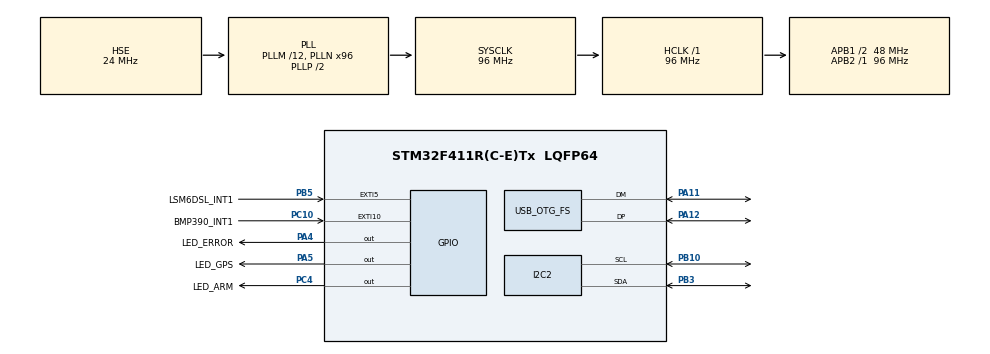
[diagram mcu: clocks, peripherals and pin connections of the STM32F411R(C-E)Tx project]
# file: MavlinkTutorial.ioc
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I2C2.I2C_Mode=I2C_Fast
Mcu.Family=STM32F4
Mcu.Name=STM32F411R(C-E)Tx
Mcu.Package=LQFP64
NVIC.EXTI15_10_IRQn=true\:12\:0\:true\:false\:true\:true\:true\:true
NVIC.EXTI9_5_IRQn=true\:12\:0\:true\:false\:true\:true\:true\:true
NVIC.OTG_FS_IRQn=true\:0\:0\:false\:false\:true\:false\:true\:true
NVIC.PriorityGroup=NVIC_PRIORITYGROUP_4
PA11.Mode=Device_Only
PA11.Signal=USB_OTG_FS_DM
PA12.Mode=Device_Only
PA12.Signal=USB_OTG_FS_DP
PA13.Mode=Serial_Wire
PA13.Signal=SYS_JTMS-SWDIO
PA14.Mode=Serial_Wire
PA14.Signal=SYS_JTCK-SWCLK
PA4.GPIO_Label=LED_ERROR
PA4.Signal=GPIO_Output
PA5.GPIO_Label=LED_GPS
PA5.Signal=GPIO_Output
PB10.Mode=I2C
PB10.Signal=I2C2_SCL
PB3.Mode=I2C
PB3.Signal=I2C2_SDA
PB5.GPIO_Label=LSM6DSL_INT1
PB5.Signal=GPXTI5
PC10.GPIO_Label=BMP390_INT1
PC10.Signal=GPXTI10
PC4.GPIO_Label=LED_ARM
PC4.Signal=GPIO_Output
PH0\ -\ OSC_IN.Mode=HSE-External-Oscillator
PH0\ -\ OSC_IN.Signal=RCC_OSC_IN
PH1\ -\ OSC_OUT.Mode=HSE-External-Oscillator
PH1\ -\ OSC_OUT.Signal=RCC_OSC_OUT
ProjectManager.HeapSize=0x200
ProjectManager.StackSize=0x400
ProjectManager.TargetToolchain=CMake
RCC.48MHZClocksFreq_Value=48000000
RCC.AHBFreq_Value=96000000
RCC.APB1CLKDivider=RCC_HCLK_DIV2
RCC.APB1Freq_Value=48000000
RCC.APB1TimFreq_Value=96000000
RCC.APB2Freq_Value=96000000
RCC.APB2TimFreq_Value=96000000
RCC.CortexFreq_Value=96000000
RCC.HCLKFreq_Value=96000000
RCC.HSE_VALUE=24000000
RCC.HSI_VALUE=16000000
RCC.LSE_VALUE=32768
RCC.PLLM=12
RCC.PLLN=96
RCC.SYSCLKFreq_VALUE=96000000
RCC.SYSCLKSource=RCC_SYSCLKSOURCE_PLLCLK
RCC.VCOOutputFreq_Value=192000000
USB_DEVICE.APP_RX_DATA_SIZE=576
USB_DEVICE.APP_TX_DATA_SIZE=576
USB_DEVICE.CLASS_NAME_FS=CDC
USB_DEVICE.VirtualMode=Cdc
USB_DEVICE.VirtualModeFS=Cdc_FS
USB_OTG_FS.VirtualMode=Device_Only
VP_USB_DEVICE_VS_USB_DEVICE_CDC_FS.Mode=CDC_FS
board=custom

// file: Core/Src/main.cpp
/* USER CODE BEGIN Header */
/**
 ******************************************************************************
 * @file           : main.c
 * @brief          : Main program body
 ******************************************************************************
 * @attention
 *
 * Copyright (c) 2026 STMicroelectronics.
 * All rights reserved.
 *
 * This software is licensed under terms that can be found in the LICENSE file
 * in the root directory of this software component.
 * If no LICENSE file comes with this software, it is provided AS-IS.
 *
 ******************************************************************************
 */
/* USER CODE END Header */
#include "main.h"
#include "gpio.h"
#include "i2c.h"
#include "usb_device.h"

/* USER CODE BEGIN Includes */
#include "usbd_cdc_if.h"
#include <stdbool.h>
#include <stdint.h>
#include <stdio.h>
#include <string.h>
#define MAVLINK_NO_SIGN_PACKET
#include "common/mavlink.h"
#include "lsm6dsl.hpp"
#define BMP390_RET_TYPE HAL_StatusTypeDef
#define BMP390_RET_TYPE_SUCCESS HAL_OK
#define BMP390_RET_TYPE_FAILURE HAL_ERROR
#define BMP390_RET_TYPE_BUSY HAL_BUSY
#include "AltitudeEKF.hpp"
#include "ExtendedKalmanFilter.hpp"
#include "bmp390.hpp"
/* USER CODE END Includes */

/* USER CODE BEGIN PV */
extern uint8_t UserRxBufferFS[APP_TX_DATA_SIZE];
extern volatile bool USBD_CDC_Transmit_Complete, USBD_CDC_Receive_Complete;
extern volatile uint32_t USB_CDC_Rx_Buf_Index, USB_CDC_Rx_Received_Len;
volatile bool ImuInterrupt = false, BaroInterrupt = false;

uint8_t MavlinkTxBuf[APP_TX_DATA_SIZE];
uint16_t MavlinkTxLen, MavlinkRxLen;
bool MavlinkResponseToSend = false, SendOtherMavlinkMessages = false;

uint32_t currentMillis, prevHeartBeatTime, prevAttitudeQuaternionTime, prevSysStatusTime, prevAltitudeTime;
const uint32_t HEARTBEAT_MSG_INTERVAL = 1000, ATTITUDE_QUATERNION_MSG_INTERVAL = 40, ALTITUDE_MSG_INTERVAL = 100,
               SYS_STATUS_MSG_INTERVAL = 2000;

mavlink_message_t MsgFromGCS, MsgToGCS;
mavlink_status_t chanStatus;
mavlink_heartbeat_t FcHeartBeat, GcsHeartBeat;
mavlink_param_request_list_t paramRequestList;
mavlink_command_long_t commandLong;
mavlink_sys_status_t SystemStatus;
mavlink_current_mode_t CurrentMode;

float P = 10.0f, I = 0.29f, D = 0.01f;
float *parameters[3] = {&P, &I, &D};

uint8_t FlightCustomVersion[8] = "DEV 0.1", MiddlewareCustomVersion[8] = "MAV 0.1", OsCustomVersion[8] = "CUS OS";

LSM6DSL_AccelRawData xl;
LSM6DSL_GyroRawData gy;

ExtendedKalmanFilter ahrs;
Quaternion q;
AltitudeEKF altimeter;
/* USER CODE END PV */

void SystemClock_Config(void);
/* USER CODE BEGIN PFP */
bool HandleMavlinkMessage(mavlink_message_t *MsgFromGCS, mavlink_message_t *MsgToGCS, uint8_t *MavLinkTxBuf,
    uint16_t *MavLinkTxLen);

LSM6DSL_INTF_RET_TYPE LSM6DSL_I2C_Read(void *hInterface, uint8_t chipAddr, uint8_t RegAddr, uint8_t *buf, uint16_t len);
LSM6DSL_INTF_RET_TYPE LSM6DSL_I2C_Write(void *hInterface, uint8_t chipAddr, uint8_t RegAddr, uint8_t *buf,
    uint16_t len);

BMP390_RET_TYPE BMP390_I2CRead(void *hInterface, uint8_t chipAddr, uint8_t reg, uint8_t *buf, uint8_t len);
BMP390_RET_TYPE BMP390_I2CWrite(void *hInterface, uint8_t chipAddr, uint8_t reg, uint8_t *buf, uint8_t len);
/* USER CODE END PFP */

/* USER CODE BEGIN 0 */
LSM6DSL imu(static_cast<void *>(&hi2c2), LSM6DSL_I2C_Read, LSM6DSL_I2C_Write, HAL_Delay);
BMP390 baro(static_cast<void *>(&hi2c2), BMP390_I2CRead, BMP390_I2CWrite);
/* USER CODE END 0 */

int main(void)
{
  /* USER CODE BEGIN 1 */
  HAL_StatusTypeDef ret;
  /* USER CODE END 1 */

  /* MCU Configuration--------------------------------------------------------*/

  /* Reset of all peripherals, Initializes the Flash interface and the Systick.
   */
  HAL_Init();

  /* Configure the system clock */
  SystemClock_Config();

  /* Initialize all configured peripherals */
  MX_GPIO_Init();
  MX_I2C2_Init();
  MX_USB_DEVICE_Init();
  /* USER CODE BEGIN 2 */
  imu.setI2CAddress(1);

  baro.Init(1, 0);

  ret = baro.IsPresent();

  while (ret != HAL_OK)
    ;

  ret = baro.ReadNVM();

  while (ret != HAL_OK)
    ;

  ret = baro.SetPressureOversampling(bmp390::TempPressOversampling::x8);

  while (ret != HAL_OK)
    ;

  ret = baro.SetTemperatureOversampling(bmp390::TempPressOversampling::x1);

  while (ret != HAL_OK)
    ;

  ret = baro.SetOutputDataRate(bmp390::TempPressODR::ODR_50Hz);

  while (ret != HAL_OK)
    ;

  ret = baro.SetIIRFilterCoefficient(bmp390::IIRFilterCoefficient::coef3);

  while (ret != HAL_OK)
    ;

  ret = baro.SetInterruptSource(1, 0, 0);

  while (ret != HAL_OK)
    ;

  ret = baro.ToggleTemperatureAndPressureMeasurement(1, 1);
  while (ret != HAL_OK)
    ;

  ret = baro.SetPowerMode(bmp390::PowerMode::Normal);

  imu.softwareReset();
  HAL_Delay(5);
  while (imu.isSoftwareResetComplete() != 0)
    ;
  imu.setAccelFSRange(LSM6DSL_XL_FS_4G);
  imu.setGyroFSRange(LSM6DSL_G_FS_1000DPS);
  imu.configGyroHPF(LSM6DSL_G_HPF_BW_0_260Hz);
  imu.configAccelDigitalLPF(LSM6DSL_XL_LPF_BW_ODR_9, 1);
  imu.INT1SourceConfig(static_cast<LSM6DSL_INT1_Sources>(LSM6DSL_INT1_DRDY_XL | LSM6DSL_INT1_DRDY_G));
  imu.setAccelODR(LSM6DSL_XL_ODR_416Hz);
  imu.setGyroODR(LSM6DSL_G_ODR_416Hz);

  // EKF for orientation
  ahrs.SetSampleTime(416.0);
  ahrs.SetR(3.0e-06f, 3.0e-06f, 3.0e-06f, 1.0f, 1.0f, 1.0f);
  ahrs.SetGyroNoise(2.35e-05f, 2.35e-05f, 2.35e-05f);

  // EKF for altitude estimation
  altimeter.SetSamplingTime(416.0f);
  altimeter.SetProcessNoise(0.0004519f, 0.0004519f);
  altimeter.SetMeasurementNoise(0.01267f);
  /* USER CODE END 2 */

  /* Infinite loop */
  /* USER CODE BEGIN WHILE */

  FcHeartBeat.autopilot = MAV_AUTOPILOT_GENERIC;
  FcHeartBeat.type = MAV_TYPE_QUADROTOR;
  FcHeartBeat.base_mode = MAV_MODE_FLAG_CUSTOM_MODE_ENABLED;
  FcHeartBeat.custom_mode = MAV_STANDARD_MODE_POSITION_HOLD;
  FcHeartBeat.system_status = MAV_STATE_STANDBY;

  SystemStatus.onboard_control_sensors_present = MAV_SYS_STATUS_SENSOR_3D_GYRO | MAV_SYS_STATUS_SENSOR_3D_ACCEL |
                                                 MAV_SYS_STATUS_SENSOR_ATTITUDE_STABILIZATION |
                                                 MAV_SYS_STATUS_SENSOR_Z_ALTITUDE_CONTROL |
                                                 MAV_SYS_STATUS_SENSOR_MOTOR_OUTPUTS;

  SystemStatus.onboard_control_sensors_enabled = MAV_SYS_STATUS_SENSOR_3D_GYRO | MAV_SYS_STATUS_SENSOR_3D_ACCEL;

  SystemStatus.onboard_control_sensors_health = MAV_SYS_STATUS_SENSOR_3D_GYRO | MAV_SYS_STATUS_SENSOR_3D_ACCEL |
                                                MAV_SYS_STATUS_SENSOR_ATTITUDE_STABILIZATION |
                                                MAV_SYS_STATUS_SENSOR_Z_ALTITUDE_CONTROL |
                                                MAV_SYS_STATUS_SENSOR_MOTOR_OUTPUTS;
  SystemStatus.load = 1;
  SystemStatus.voltage_battery = UINT16_MAX;
  SystemStatus.current_battery = -1;
  SystemStatus.battery_remaining = -1;
  SystemStatus.drop_rate_comm = 0;
  SystemStatus.errors_comm = 0;
  SystemStatus.errors_count1 = 0;
  SystemStatus.errors_count2 = 0;
  SystemStatus.errors_count3 = 0;
  SystemStatus.errors_count4 = 0;
  SystemStatus.onboard_control_sensors_enabled_extended = 0;
  SystemStatus.onboard_control_sensors_present_extended = 0;
  SystemStatus.onboard_control_sensors_health_extended = 0;

  CurrentMode.standard_mode = MAV_MODE_FLAG_CUSTOM_MODE_ENABLED;
  CurrentMode.custom_mode = MAV_STANDARD_MODE_POSITION_HOLD;
  CurrentMode.intended_custom_mode = MAV_STANDARD_MODE_POSITION_HOLD;

  uint8_t parseState = 0;

  float accelX, accelY, accelZ, gyroX, gyroY, gyroZ;
  bool ahrsComputeSuccess = 0;
  float altitude = 0.0f, AzWorld = 0.0f, baroAltitude = 0.0f, altitudeMonotonic = 0.0f;
  double temperature = 0.0f, pressure = 0.0f;
  uint16_t baroIntCount = 0;

  while (1)
  {
    currentMillis = HAL_GetTick();

    if (BaroInterrupt)
    {
      // read temperature(C) and pressure(Pa) data
      baro.GetTemperatureAndPressure(temperature, pressure);
      // get estimated altitude in meters
      baroAltitude = baro.GetAltitude(pressure);

      if (baroIntCount <= 250U)
        baroIntCount++;
      else
      {
        if (altitudeMonotonic == 0.0f)
          altitudeMonotonic = baroAltitude;
        altimeter.Update(baroAltitude);
      }

      BaroInterrupt = false;
      HAL_GPIO_TogglePin(LED_GPS_GPIO_Port, LED_GPS_Pin);
    }

    if (ImuInterrupt && imu.isAccelDataAvailabe() == LSM6DSL_INTF_RET_TYPE_SUCCESS &&
        imu.isGyroDataAvailabe() == LSM6DSL_INTF_RET_TYPE_SUCCESS)
    {
      ImuInterrupt = false;
      imu.readAccelData(&xl);
      imu.readGyroData(&gy);

      // remove offset
      xl.x -= 44;
      xl.y += 94;
      xl.z -= 239;
      gy.x -= 43;
      gy.y += 157;
      gy.z += 24;

      accelX = convertAccelRawDataTomS2(xl.x, LSM6DSL_XL_FS_4G);
      accelY = convertAccelRawDataTomS2(xl.y, LSM6DSL_XL_FS_4G);
      accelZ = convertAccelRawDataTomS2(xl.z, LSM6DSL_XL_FS_4G);

      gyroX = convertGyroRawDataToDPS(gy.x, LSM6DSL_G_FS_1000DPS);
      gyroY = convertGyroRawDataToDPS(gy.y, LSM6DSL_G_FS_1000DPS);
      gyroZ = convertGyroRawDataToDPS(gy.z, LSM6DSL_G_FS_1000DPS);

      ahrsComputeSuccess = ahrs.Run(accelX, -accelY, accelZ, -gyroX, gyroY, gyroZ);

      HAL_GPIO_TogglePin(LED_ERROR_GPIO_Port, LED_ERROR_Pin);

      if (ahrsComputeSuccess)
      {
        ahrs.GetOrientation(q);
        //			}

        // ignore first 5 seconds
        if (baroIntCount >= 250)
        {
          AzWorld = (2.0f * (q.x * q.z - q.s * q.y) * accelX) + (2.0f * (q.s * q.x + q.y * q.z) * accelY) +
                    ((q.s * q.s - q.x * q.x - q.y * q.y + q.z * q.z) * accelZ);
          AzWorld -= 9.81f; // subtract acceleration due to gravity

          altimeter.Predict(AzWorld);
          altitude = altimeter.GetAltitude();
        }
      }
    }

    if (!MavlinkResponseToSend && USBD_CDC_Transmit_Complete &&
        (currentMillis - prevHeartBeatTime) >= HEARTBEAT_MSG_INTERVAL)
    {
      mavlink_msg_heartbeat_encode(1, MAV_COMP_ID_AUTOPILOT1, &MsgToGCS, &FcHeartBeat);
      MavlinkTxLen = mavlink_msg_to_send_buffer(MavlinkTxBuf, &MsgToGCS);
      USBD_CDC_Transmit_Complete = false;
      CDC_Transmit_FS(MavlinkTxBuf, MavlinkTxLen);
      prevHeartBeatTime = currentMillis;
    }

    if (SendOtherMavlinkMessages && ahrsComputeSuccess && !MavlinkResponseToSend && USBD_CDC_Transmit_Complete &&
        (currentMillis - prevAttitudeQuaternionTime) >= ATTITUDE_QUATERNION_MSG_INTERVAL)
    {
      float repr_offset_q[4] = {0};
      mavlink_msg_attitude_quaternion_pack(1, MAV_COMP_ID_AUTOPILOT1, &MsgToGCS, currentMillis, q.s, q.x, q.y, q.z,
          gyroX * 0.01745f, gyroY * 0.01745f, gyroZ * 0.01745f, repr_offset_q);

      MavlinkTxLen = mavlink_msg_to_send_buffer(MavlinkTxBuf, &MsgToGCS);
      USBD_CDC_Transmit_Complete = false;
      prevAttitudeQuaternionTime = currentMillis;
      CDC_Transmit_FS(MavlinkTxBuf, MavlinkTxLen);
      ahrsComputeSuccess = false;
    }

    if (SendOtherMavlinkMessages && !MavlinkResponseToSend && USBD_CDC_Transmit_Complete &&
        (currentMillis - prevAltitudeTime) >= ALTITUDE_MSG_INTERVAL)
    {
      mavlink_msg_altitude_pack(1, MAV_COMP_ID_AUTOPILOT1, &MsgToGCS, currentMillis * 1000U, altitudeMonotonic,
          altitude, altitude - altitudeMonotonic, altitude - altitudeMonotonic, -1001, -1.0f);

      MavlinkTxLen = mavlink_msg_to_send_buffer(MavlinkTxBuf, &MsgToGCS);
      USBD_CDC_Transmit_Complete = false;
      prevAltitudeTime = currentMillis;
      CDC_Transmit_FS(MavlinkTxBuf, MavlinkTxLen);
    }

    if (SendOtherMavlinkMessages && !MavlinkResponseToSend && USBD_CDC_Transmit_Complete &&
        (currentMillis - prevSysStatusTime) >= SYS_STATUS_MSG_INTERVAL)
    {
      mavlink_msg_sys_status_encode(1, MAV_COMP_ID_AUTOPILOT1, &MsgToGCS, &SystemStatus);
      MavlinkTxLen = mavlink_msg_to_send_buffer(MavlinkTxBuf, &MsgToGCS);
      USBD_CDC_Transmit_Complete = false;
      prevSysStatusTime = currentMillis;
      CDC_Transmit_FS(MavlinkTxBuf, MavlinkTxLen);
    }
    /* USER CODE END WHILE */

    /* USER CODE BEGIN 3 */

    if (USBD_CDC_Receive_Complete)
    {
      USBD_CDC_Receive_Complete = false;

      static uint32_t i = 0;
      uint32_t MavLinkRxLen = i + USB_CDC_Rx_Received_Len; // total number of bytes in the rx buffer

      while (i < MavLinkRxLen)
      {
        parseState = mavlink_parse_char(MAVLINK_COMM_0, UserRxBufferFS[i], &MsgFromGCS, &chanStatus);
        i++;

        if (parseState)
        {
          MavlinkResponseToSend = HandleMavlinkMessage(&MsgFromGCS, &MsgToGCS, MavlinkTxBuf, &MavlinkTxLen);
          parseState = 0;

          // send respone if previous transmission has completed and a mavlink
          // respone has to be sent
          if (USBD_CDC_Transmit_Complete && MavlinkResponseToSend)
          {
            USBD_CDC_Transmit_Complete = false;
            MavlinkResponseToSend = false;
            CDC_Transmit_FS(MavlinkTxBuf, MavlinkTxLen);
          }
        }
      }
      // Rx buffer overflow
      if (i > USB_CDC_Rx_Buf_Index)
        i = 0;
    }
  }
  /* USER CODE END 3 */
}

void SystemClock_Config(void)
{
  RCC_OscInitTypeDef RCC_OscInitStruct = {0};
  RCC_ClkInitTypeDef RCC_ClkInitStruct = {0};

  /** Configure the main internal regulator output voltage
   */
  __HAL_RCC_PWR_CLK_ENABLE();
  __HAL_PWR_VOLTAGESCALING_CONFIG(PWR_REGULATOR_VOLTAGE_SCALE1);

  /** Initializes the RCC Oscillators according to the specified parameters
   * in the RCC_OscInitTypeDef structure.
   */
  RCC_OscInitStruct.OscillatorType = RCC_OSCILLATORTYPE_HSE;
  RCC_OscInitStruct.HSEState = RCC_HSE_ON;
  RCC_OscInitStruct.PLL.PLLState = RCC_PLL_ON;
  RCC_OscInitStruct.PLL.PLLSource = RCC_PLLSOURCE_HSE;
  RCC_OscInitStruct.PLL.PLLM = 12;
  RCC_OscInitStruct.PLL.PLLN = 96;
  RCC_OscInitStruct.PLL.PLLP = RCC_PLLP_DIV2;
  RCC_OscInitStruct.PLL.PLLQ = 4;
  if (HAL_RCC_OscConfig(&RCC_OscInitStruct) != HAL_OK)
  {
    Error_Handler();
  }

  /** Initializes the CPU, AHB and APB buses clocks
   */
  RCC_ClkInitStruct.ClockType = RCC_CLOCKTYPE_HCLK | RCC_CLOCKTYPE_SYSCLK | RCC_CLOCKTYPE_PCLK1 | RCC_CLOCKTYPE_PCLK2;
  RCC_ClkInitStruct.SYSCLKSource = RCC_SYSCLKSOURCE_PLLCLK;
  RCC_ClkInitStruct.AHBCLKDivider = RCC_SYSCLK_DIV1;
  RCC_ClkInitStruct.APB1CLKDivider = RCC_HCLK_DIV2;
  RCC_ClkInitStruct.APB2CLKDivider = RCC_HCLK_DIV1;

  if (HAL_RCC_ClockConfig(&RCC_ClkInitStruct, FLASH_LATENCY_3) != HAL_OK)
  {
    Error_Handler();
  }
}

/* USER CODE BEGIN 4 */
bool HandleMavlinkMessage(mavlink_message_t *MsgFromGCS, mavlink_message_t *MsgToGCS, uint8_t *MavLinkTxBuf,
    uint16_t *MavLinkTxLen)
{
  bool messageToBeSent = false;
  uint32_t msgID = MsgFromGCS->msgid;
start:
  switch (msgID)
  {
  case MAVLINK_MSG_ID_SYS_STATUS:
    mavlink_msg_command_ack_pack(1, MAV_COMP_ID_AUTOPILOT1, MsgToGCS, MAV_CMD_REQUEST_MESSAGE, MAV_RESULT_ACCEPTED,
        UINT8_MAX, 0, MsgFromGCS->sysid, MsgFromGCS->compid);
    *MavLinkTxLen = mavlink_msg_to_send_buffer(MavLinkTxBuf, MsgToGCS);

    mavlink_msg_sys_status_encode(1, 1, MsgToGCS, &SystemStatus);
    *MavLinkTxLen += mavlink_msg_to_send_buffer(&MavLinkTxBuf[*MavLinkTxLen], MsgToGCS);
    messageToBeSent = true;
    break;

  case MAVLINK_MSG_ID_HEARTBEAT:
    mavlink_msg_heartbeat_decode(MsgFromGCS, &GcsHeartBeat);
    HAL_GPIO_TogglePin(LED_ARM_GPIO_Port, LED_ARM_Pin);
    break;

  case 20:
    // mavlink_msg_param_request_read_decode(MsgFromGCS, &param_request_read);
    break;

  case MAVLINK_MSG_ID_PARAM_REQUEST_LIST:
    mavlink_msg_param_value_pack(1, MAV_COMP_ID_AUTOPILOT1, MsgToGCS, "P", *parameters[0], MAV_PARAM_TYPE_REAL32, 3, 0);
    *MavLinkTxLen = mavlink_msg_to_send_buffer(MavLinkTxBuf, MsgToGCS);
    mavlink_msg_param_value_pack(1, MAV_COMP_ID_AUTOPILOT1, MsgToGCS, "I", *parameters[1], MAV_PARAM_TYPE_REAL32, 3, 1);
    *MavLinkTxLen += mavlink_msg_to_send_buffer(&MavLinkTxBuf[*MavLinkTxLen], MsgToGCS);
    mavlink_msg_param_value_pack(1, MAV_COMP_ID_AUTOPILOT1, MsgToGCS, "D", *parameters[2], MAV_PARAM_TYPE_REAL32, 3, 2);
    *MavLinkTxLen += mavlink_msg_to_send_buffer(&MavLinkTxBuf[*MavLinkTxLen], MsgToGCS);
    messageToBeSent = true;
    break;

  case MAVLINK_MSG_ID_COMMAND_LONG:
    mavlink_msg_command_long_decode(MsgFromGCS, &commandLong);

    switch (commandLong.command)
    {
    case MAV_CMD_REQUEST_MESSAGE:
      switch ((uint32_t)commandLong.param1)
      {
      case MAVLINK_MSG_ID_AUTOPILOT_VERSION:
      case MAVLINK_MSG_ID_SYS_STATUS:
      case MAVLINK_MSG_ID_AVAILABLE_MODES:
        msgID = (uint32_t)commandLong.param1;
        goto start;
        break;

      default:
        mavlink_msg_command_ack_pack(1, MAV_COMP_ID_AUTOPILOT1, MsgToGCS, MAV_CMD_REQUEST_MESSAGE, MAV_RESULT_DENIED,
            UINT8_MAX, 0, MsgFromGCS->sysid, MsgFromGCS->compid);
        *MavLinkTxLen = mavlink_msg_to_send_buffer(MavLinkTxBuf, MsgToGCS);
        messageToBeSent = true;
        break;
      }
      break;

    case MAV_CMD_COMPONENT_ARM_DISARM:
      // arm
      if ((uint32_t)commandLong.param1 == 1)
      {
        FcHeartBeat.base_mode = MAV_MODE_FLAG_CUSTOM_MODE_ENABLED | MAV_MODE_FLAG_SAFETY_ARMED;
        FcHeartBeat.system_status = MAV_STATE_ACTIVE;
      } else
      {
        // disarm
        FcHeartBeat.base_mode = MAV_MODE_FLAG_CUSTOM_MODE_ENABLED;
        FcHeartBeat.system_status = MAV_STATE_STANDBY;
      }
      mavlink_msg_command_ack_pack(1, MAV_COMP_ID_AUTOPILOT1, MsgToGCS, commandLong.command, MAV_RESULT_ACCEPTED, 100,
          0, MsgFromGCS->sysid, MsgFromGCS->compid);
      *MavLinkTxLen = mavlink_msg_to_send_buffer(MavLinkTxBuf, MsgToGCS);
      messageToBeSent = true;
      break;

    case MAV_CMD_DO_SET_MODE:
      if ((uint32_t)commandLong.param1 == MAV_MODE_FLAG_CUSTOM_MODE_ENABLED)
      {
        // update flight modes in both current mode and heartbeat object
        CurrentMode.custom_mode = (uint8_t)commandLong.param2;
        CurrentMode.intended_custom_mode = (uint8_t)commandLong.param2;
        FcHeartBeat.custom_mode = (uint8_t)commandLong.param2;
      }
      mavlink_msg_command_ack_pack(1, MAV_COMP_ID_AUTOPILOT1, MsgToGCS, commandLong.command, MAV_RESULT_ACCEPTED, 100,
          0, MsgFromGCS->sysid, MsgFromGCS->compid);
      *MavLinkTxLen = mavlink_msg_to_send_buffer(MavLinkTxBuf, MsgToGCS);
      mavlink_msg_current_mode_encode(1, MAV_COMP_ID_AUTOPILOT1, MsgToGCS, &CurrentMode);
      *MavLinkTxLen += mavlink_msg_to_send_buffer(&MavLinkTxBuf[*MavLinkTxLen], MsgToGCS);
      messageToBeSent = true;
      break;

    default:
      mavlink_msg_command_ack_pack(1, MAV_COMP_ID_AUTOPILOT1, MsgToGCS, commandLong.command, MAV_RESULT_UNSUPPORTED,
          UINT8_MAX, 0, MsgFromGCS->sysid, MsgFromGCS->compid);
      *MavLinkTxLen = mavlink_msg_to_send_buffer(MavLinkTxBuf, MsgToGCS);
      messageToBeSent = true;
      break;
    }
    // HAL_GPIO_TogglePin(LED_ERROR_GPIO_Port, LED_ERROR_Pin);
    break;

  case MAVLINK_MSG_ID_MANUAL_CONTROL:
    // mavlink_msg_manual_control_decode(MsgFromGCS, &virtualJoystick);
    //		HAL_GPIO_TogglePin(LED_GPS_GPIO_Port, LED_GPS_Pin);
    break;

  case MAVLINK_MSG_ID_AUTOPILOT_VERSION:
    mavlink_msg_command_ack_pack(1, MAV_COMP_ID_AUTOPILOT1, MsgToGCS, MAV_CMD_REQUEST_MESSAGE, MAV_RESULT_ACCEPTED,
        UINT8_MAX, 0, MsgFromGCS->sysid, MsgFromGCS->compid);
    *MavLinkTxLen = mavlink_msg_to_send_buffer(MavLinkTxBuf, MsgToGCS);
    mavlink_msg_autopilot_version_pack(1, 1, MsgToGCS,
        MAV_PROTOCOL_CAPABILITY_COMMAND_INT | MAV_PROTOCOL_CAPABILITY_SET_ATTITUDE_TARGET |
            MAV_PROTOCOL_CAPABILITY_SET_POSITION_TARGET_GLOBAL_INT | MAV_PROTOCOL_CAPABILITY_MAVLINK2 |
            MAV_PROTOCOL_CAPABILITY_PARAM_ENCODE_C_CAST | MAV_PROTOCOL_CAPABILITY_COMPONENT_ACCEPTS_GCS_CONTROL,
        FIRMWARE_VERSION_TYPE_DEV, 0, 1, 12, FlightCustomVersion, MiddlewareCustomVersion, OsCustomVersion, 123, 456,
        10101, 0);
    *MavLinkTxLen += mavlink_msg_to_send_buffer(&MavLinkTxBuf[*MavLinkTxLen], MsgToGCS);
    messageToBeSent = true;
    break;

  case MAVLINK_MSG_ID_AVAILABLE_MODES:
    // if param2 is zero, then send all the mode else send only the requested
    // mode
    switch ((uint32_t)commandLong.param2)
    {
    case 0:
      mavlink_msg_command_ack_pack(1, MAV_COMP_ID_AUTOPILOT1, MsgToGCS, MAV_CMD_REQUEST_MESSAGE, MAV_RESULT_ACCEPTED,
          UINT8_MAX, 0, MsgFromGCS->sysid, MsgFromGCS->compid);
      *MavLinkTxLen = mavlink_msg_to_send_buffer(MavLinkTxBuf, MsgToGCS);
      mavlink_msg_available_modes_pack(1, MAV_COMP_ID_AUTOPILOT1, MsgToGCS, 4, 1, MAV_STANDARD_MODE_POSITION_HOLD, 1, 0,
          0);
      *MavLinkTxLen += mavlink_msg_to_send_buffer(&MavLinkTxBuf[*MavLinkTxLen], MsgToGCS);
      mavlink_msg_available_modes_pack(1, MAV_COMP_ID_AUTOPILOT1, MsgToGCS, 4, 2, MAV_STANDARD_MODE_LAND, 2,
          MAV_MODE_PROPERTY_AUTO_MODE, 0);
      *MavLinkTxLen += mavlink_msg_to_send_buffer(&MavLinkTxBuf[*MavLinkTxLen], MsgToGCS);
      mavlink_msg_available_modes_pack(1, MAV_COMP_ID_AUTOPILOT1, MsgToGCS, 4, 3, MAV_STANDARD_MODE_ALTITUDE_HOLD, 3, 0,
          0);
      *MavLinkTxLen += mavlink_msg_to_send_buffer(&MavLinkTxBuf[*MavLinkTxLen], MsgToGCS);
      mavlink_msg_available_modes_pack(1, MAV_COMP_ID_AUTOPILOT1, MsgToGCS, 4, 4, MAV_STANDARD_MODE_TAKEOFF, 4,
          MAV_MODE_PROPERTY_AUTO_MODE, 0);
      *MavLinkTxLen += mavlink_msg_to_send_buffer(&MavLinkTxBuf[*MavLinkTxLen], MsgToGCS);
      messageToBeSent = true;
      break;

    case 1:
      mavlink_msg_command_ack_pack(1, MAV_COMP_ID_AUTOPILOT1, MsgToGCS, MAV_CMD_REQUEST_MESSAGE, MAV_RESULT_ACCEPTED,
          UINT8_MAX, 0, MsgFromGCS->sysid, MsgFromGCS->compid);
      *MavLinkTxLen = mavlink_msg_to_send_buffer(MavLinkTxBuf, MsgToGCS);
      mavlink_msg_available_modes_pack(1, MAV_COMP_ID_AUTOPILOT1, MsgToGCS, 4, 1, MAV_STANDARD_MODE_POSITION_HOLD, 1, 0,
          0);
      *MavLinkTxLen += mavlink_msg_to_send_buffer(&MavLinkTxBuf[*MavLinkTxLen], MsgToGCS);
      messageToBeSent = true;
      break;

    case 2:
      mavlink_msg_command_ack_pack(1, MAV_COMP_ID_AUTOPILOT1, MsgToGCS, MAV_CMD_REQUEST_MESSAGE, MAV_RESULT_ACCEPTED,
          UINT8_MAX, 0, MsgFromGCS->sysid, MsgFromGCS->compid);
      *MavLinkTxLen = mavlink_msg_to_send_buffer(MavLinkTxBuf, MsgToGCS);
      mavlink_msg_available_modes_pack(1, MAV_COMP_ID_AUTOPILOT1, MsgToGCS, 4, 2, MAV_STANDARD_MODE_LAND, 2,
          MAV_MODE_PROPERTY_AUTO_MODE, 0);
      *MavLinkTxLen += mavlink_msg_to_send_buffer(&MavLinkTxBuf[*MavLinkTxLen], MsgToGCS);
      messageToBeSent = true;
      break;

    case 3:
      mavlink_msg_command_ack_pack(1, MAV_COMP_ID_AUTOPILOT1, MsgToGCS, MAV_CMD_REQUEST_MESSAGE, MAV_RESULT_ACCEPTED,
          UINT8_MAX, 0, MsgFromGCS->sysid, MsgFromGCS->compid);
      *MavLinkTxLen = mavlink_msg_to_send_buffer(MavLinkTxBuf, MsgToGCS);
      mavlink_msg_available_modes_pack(1, MAV_COMP_ID_AUTOPILOT1, MsgToGCS, 4, 3, MAV_STANDARD_MODE_ALTITUDE_HOLD, 3, 0,
          0);
      *MavLinkTxLen += mavlink_msg_to_send_buffer(&MavLinkTxBuf[*MavLinkTxLen], MsgToGCS);
      messageToBeSent = true;
      break;

    case 4:
      mavlink_msg_command_ack_pack(1, MAV_COMP_ID_AUTOPILOT1, MsgToGCS, MAV_CMD_REQUEST_MESSAGE, MAV_RESULT_ACCEPTED,
          UINT8_MAX, 0, MsgFromGCS->sysid, MsgFromGCS->compid);
      *MavLinkTxLen = mavlink_msg_to_send_buffer(MavLinkTxBuf, MsgToGCS);
      mavlink_msg_available_modes_pack(1, MAV_COMP_ID_AUTOPILOT1, MsgToGCS, 4, 4, MAV_STANDARD_MODE_TAKEOFF, 4,
          MAV_MODE_PROPERTY_AUTO_MODE, 0);
      *MavLinkTxLen += mavlink_msg_to_send_buffer(&MavLinkTxBuf[*MavLinkTxLen], MsgToGCS);
      messageToBeSent = true;
      break;

    default:
      break;
    }
    break;

  case MAVLINK_MSG_ID_MISSION_REQUEST_LIST:
    mavlink_msg_mission_count_pack(1, MAV_COMP_ID_AUTOPILOT1, MsgToGCS, MsgFromGCS->sysid, MsgFromGCS->compid, 0,
        MAV_MISSION_TYPE_MISSION, 0);
    *MavLinkTxLen = mavlink_msg_to_send_buffer(MavLinkTxBuf, MsgToGCS);
    messageToBeSent = true;
    break;

  case MAVLINK_MSG_ID_MISSION_ACK:
    SendOtherMavlinkMessages = true;
    break;

  default:
    break;
  }
  return messageToBeSent;
}

LSM6DSL_INTF_RET_TYPE
LSM6DSL_I2C_Read(void *hInterface, uint8_t chipAddr, uint8_t RegAddr, uint8_t *buf, uint16_t len)
{
  return HAL_I2C_Mem_Read(static_cast<I2C_HandleTypeDef *>(hInterface), chipAddr << 1, RegAddr, 1, buf, len, 10);
}

LSM6DSL_INTF_RET_TYPE
LSM6DSL_I2C_Write(void *hInterface, uint8_t chipAddr, uint8_t RegAddr, uint8_t *buf, uint16_t len)
{
  return HAL_I2C_Mem_Write(static_cast<I2C_HandleTypeDef *>(hInterface), chipAddr << 1, RegAddr, 1, buf, len, 10);
}

BMP390_RET_TYPE
BMP390_I2CRead(void *hInterface, uint8_t chipAddr, uint8_t reg, uint8_t *buf, uint8_t len)
{
  BMP390_RET_TYPE ret = HAL_ERROR;
  if (hInterface != nullptr)
  {
    ret = HAL_I2C_Mem_Read(static_cast<I2C_HandleTypeDef *>(hInterface), static_cast<uint16_t>(chipAddr << 1),
        static_cast<uint16_t>(reg), 1U, buf, static_cast<uint16_t>(len), 10U);
    if (ret == HAL_TIMEOUT)
      ret = HAL_ERROR;
  }
  return ret;
}

BMP390_RET_TYPE
BMP390_I2CWrite(void *hInterface, uint8_t chipAddr, uint8_t reg, uint8_t *buf, uint8_t len)
{
  BMP390_RET_TYPE ret = HAL_ERROR;
  if (hInterface != nullptr)
  {
    ret = HAL_I2C_Mem_Write(static_cast<I2C_HandleTypeDef *>(hInterface), static_cast<uint16_t>(chipAddr << 1),
        static_cast<uint16_t>(reg), 1U, buf, static_cast<uint16_t>(len), 10U);
    if (ret == HAL_TIMEOUT)
      ret = HAL_ERROR;
  }
  return ret;
}

void HAL_GPIO_EXTI_Callback(uint16_t GPIO_Pin)
{
  switch (GPIO_Pin)
  {
  case LSM6DSL_INT1_Pin:
    ImuInterrupt = true;
    break;
  case BMP390_INT1_Pin:
    BaroInterrupt = true;
    break;
  default:
    break;
  }
}
/* USER CODE END 4 */

void Error_Handler(void)
{
  __disable_irq();
  while (1)
  {
  }
}
#ifdef USE_FULL_ASSERT
/**
 * @brief  Reports the name of the source file and the source line number
 *         where the assert_param error has occurred.
 * @param  file: pointer to the source file name
 * @param  line: assert_param error line source number
 * @retval None
 */
void assert_failed(uint8_t *file, uint32_t line)
{
  /* USER CODE BEGIN 6 */
  /* User can add his own implementation to report the file name and line
     number, ex: printf("Wrong parameters value: file %s on line %d\r\n", file,
     line) */
  /* USER CODE END 6 */
}
#endif /* USE_FULL_ASSERT */
